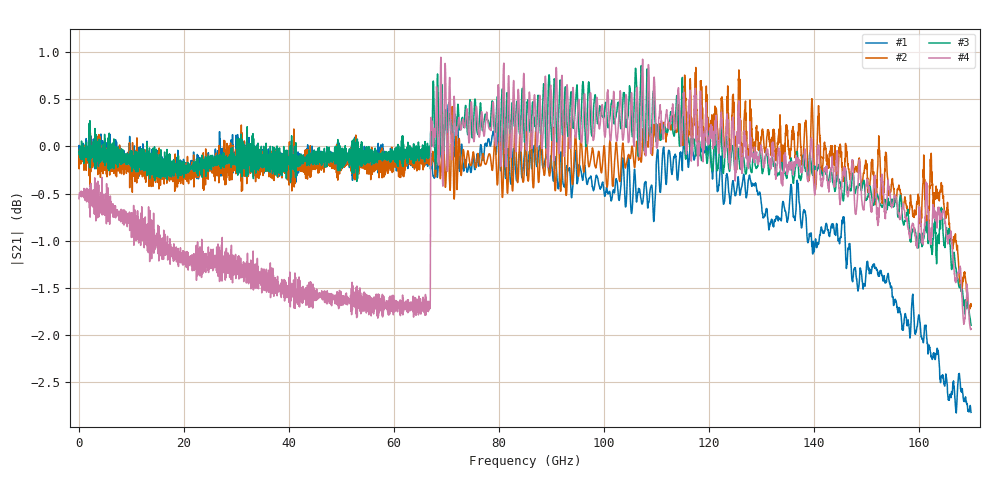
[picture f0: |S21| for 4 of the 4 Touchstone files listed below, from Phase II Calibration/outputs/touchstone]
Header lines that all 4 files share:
! Generated by Phase II Calibration
# Hz S RI R 50
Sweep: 10 MHz to 170 GHz
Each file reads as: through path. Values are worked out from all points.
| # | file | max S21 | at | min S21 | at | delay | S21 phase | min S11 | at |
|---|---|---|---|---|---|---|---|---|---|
| 1 | CORRECTED_P1P3_DIAG_STITCHED.s2p | 0.48 dB | 70.65 GHz | -2.8 dB | 167.2 GHz | 2.38 ps | -77 deg at 87.93 GHz | -52.7 dB | 31.12 GHz |
| 2 | CORRECTED_P1P4_DIAG_STITCHED.s2p | 0.84 dB | 117.6 GHz | -1.7 dB | 169.6 GHz | 1.65 ps | -54 deg at 87.93 GHz | -42.3 dB | 847.4 MHz |
| 3 | CORRECTED_P2P3_DIAG_STITCHED.s2p | 0.86 dB | 107.2 GHz | -1.9 dB | 170 GHz | 1.73 ps | -55 deg at 87.93 GHz | -57.7 dB | 177.5 MHz |
| 4 | CORRECTED_P2P4_DIAG_STITCHED.s2p | 0.94 dB | 68.97 GHz | -1.9 dB | 169.9 GHz | 1.53 ps | -58 deg at 87.93 GHz | -38.1 dB | 3.234 GHz |
